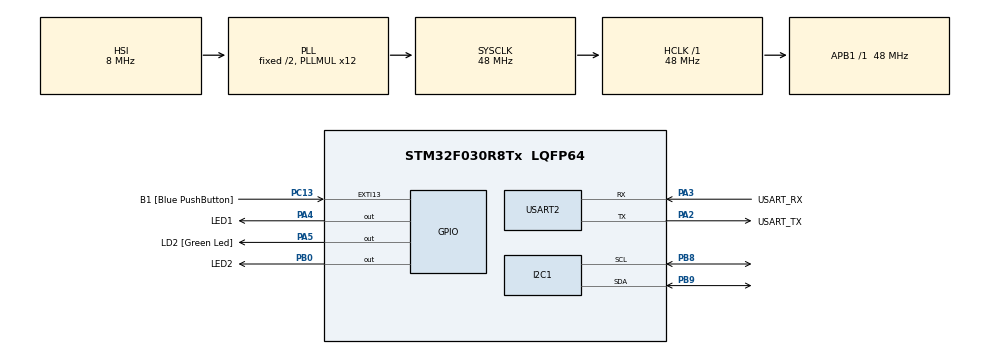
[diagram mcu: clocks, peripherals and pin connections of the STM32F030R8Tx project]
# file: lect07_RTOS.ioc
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FREERTOS.Queues01=xVisualQueue,16,uint16_t,0,Dynamic,NULL,NULL
FREERTOS.Tasks01=defaultTask,0,128,StartDefaultTask,Default,NULL,Dynamic,NULL,NULL;VisualTask,0,128,StartVisualTask,Default,NULL,Dynamic,NULL,NULL;AcceleroTask,0,128,StartAcceleroTask,Default,NULL,Dynamic,NULL,NULL
FREERTOS.configUSE_NEWLIB_REENTRANT=1
I2C1.Timing=0x00201D2B
Mcu.Family=STM32F0
Mcu.Name=STM32F030R8Tx
Mcu.Package=LQFP64
NVIC.TIM14_IRQn=true\:3\:0\:false\:false\:true\:false\:false\:true\:true
NVIC.TimeBase=TIM14_IRQn
NVIC.TimeBaseIP=TIM14
PA13.GPIO_Label=TMS
PA13.Mode=Serial_Wire
PA13.Signal=SYS_SWDIO
PA14.GPIO_Label=TCK
PA14.Mode=Serial_Wire
PA14.Signal=SYS_SWCLK
PA2.GPIO_Label=USART_TX
PA2.GPIO_Mode=GPIO_MODE_AF_PP
PA2.GPIO_PuPd=GPIO_NOPULL
PA2.GPIO_Speed=GPIO_SPEED_FREQ_LOW
PA2.Mode=Asynchronous
PA2.Signal=USART2_TX
PA3.GPIO_Label=USART_RX
PA3.GPIO_Mode=GPIO_MODE_AF_PP
PA3.GPIO_PuPd=GPIO_NOPULL
PA3.GPIO_Speed=GPIO_SPEED_FREQ_LOW
PA3.Mode=Asynchronous
PA3.Signal=USART2_RX
PA4.GPIO_Label=LED1
PA4.Signal=GPIO_Output
PA5.GPIO_Label=LD2 [Green Led]
PA5.GPIO_Mode=GPIO_MODE_OUTPUT_PP
PA5.GPIO_PuPd=GPIO_NOPULL
PA5.GPIO_Speed=GPIO_SPEED_FREQ_LOW
PA5.Signal=GPIO_Output
PB0.GPIO_Label=LED2
PB0.Signal=GPIO_Output
PB8.Mode=I2C
PB8.Signal=I2C1_SCL
PB9.Mode=I2C
PB9.Signal=I2C1_SDA
PC13.GPIO_Label=B1 [Blue PushButton]
PC13.GPIO_ModeDefaultEXTI=GPIO_MODE_IT_FALLING
PC13.Signal=GPXTI13
PC14-OSC32_IN.Mode=LSE-External-Oscillator
PC14-OSC32_IN.Signal=RCC_OSC32_IN
PC15-OSC32_OUT.Mode=LSE-External-Oscillator
PC15-OSC32_OUT.Signal=RCC_OSC32_OUT
PF0-OSC_IN.Mode=HSE-External-Clock-Source
PF0-OSC_IN.Signal=RCC_OSC_IN
PF1-OSC_OUT.Signal=RCC_OSC_OUT
ProjectManager.HeapSize=0x200
ProjectManager.StackSize=0x400
ProjectManager.TargetToolchain=STM32CubeIDE
RCC.AHBFreq_Value=48000000
RCC.APB1Freq_Value=48000000
RCC.APB1TimFreq_Value=48000000
RCC.HCLKFreq_Value=48000000
RCC.PLLMUL=RCC_PLL_MUL12
RCC.SYSCLKFreq_VALUE=48000000
RCC.SYSCLKSource=RCC_SYSCLKSOURCE_PLLCLK
USART2.VirtualMode-Asynchronous=VM_ASYNC
VP_FREERTOS_VS_CMSIS_V1.Mode=CMSIS_V1
VP_SYS_VS_tim14.Mode=TIM14
board=NUCLEO-F030R8

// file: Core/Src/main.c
/* USER CODE BEGIN Header */
/**
 ******************************************************************************
 * @file           : main.c
 * @brief          : Main program body
 ******************************************************************************
 * @attention
 *
 * Copyright (c) 2024 STMicroelectronics.
 * All rights reserved.
 *
 * This software is licensed under terms that can be found in the LICENSE file
 * in the root directory of this software component.
 * If no LICENSE file comes with this software, it is provided AS-IS.
 *
 ******************************************************************************
 */
/* USER CODE END Header */
#include "main.h"
#include "cmsis_os.h"

/* USER CODE BEGIN Includes */
#include "lis2dw12_reg.h"
#include <stdio.h>
/* USER CODE END Includes */

I2C_HandleTypeDef hi2c1;

UART_HandleTypeDef huart2;

osThreadId defaultTaskHandle;
osThreadId VisualTaskHandle;
osThreadId AcceleroTaskHandle;
osMessageQId xVisualQueueHandle;

void SystemClock_Config(void);
static void MX_GPIO_Init(void);
static void MX_USART2_UART_Init(void);
static void MX_I2C1_Init(void);
void StartDefaultTask(void const * argument);
void StartVisualTask(void const * argument);
void StartAcceleroTask(void const * argument);

/* USER CODE BEGIN 0 */
static int32_t platform_write(void *handle, uint8_t reg, uint8_t *bufp, uint16_t len);
static int32_t platform_read(void *handle, uint8_t reg, uint8_t *bufp, uint16_t len);
static stmdev_ctx_t lis2dw12 = {
		.write_reg = platform_write,
		.read_reg = platform_read,
		.handle = &hi2c1,
};

/*
 * Replace the functions "platform_write" and "platform_read" with your
 * platform specific read and write function.
 */
static int32_t platform_write(void *handle, uint8_t reg, uint8_t *bufp, uint16_t len)
{
	HAL_I2C_Mem_Write(handle, LIS2DW12_I2C_ADD_H, reg, I2C_MEMADD_SIZE_8BIT, bufp, len, 1000);
	return 0;
}
static int32_t platform_read(void *handle, uint8_t reg, uint8_t *bufp, uint16_t len)
{
	HAL_I2C_Mem_Read(handle, LIS2DW12_I2C_ADD_H, reg, I2C_MEMADD_SIZE_8BIT, bufp, len, 1000);
	return 0;
}

int _write(int file, char const *buf, int n)
{
	/* stdout redirection to UART2 */
	HAL_UART_Transmit(&huart2, (uint8_t*)(buf), n, HAL_MAX_DELAY);
	return n;
}

/* USER CODE END 0 */

int main(void)
{

	/* MCU Configuration--------------------------------------------------------*/

	/* Reset of all peripherals, Initializes the Flash interface and the Systick. */
	HAL_Init();

	/* Configure the system clock */
	SystemClock_Config();

	/* Initialize all configured peripherals */
	MX_GPIO_Init();
	MX_USART2_UART_Init();
	MX_I2C1_Init();

	/* Create the queue(s) */
	/* definition and creation of xVisualQueue */
	osMessageQDef(xVisualQueue, 16, uint16_t);
	xVisualQueueHandle = osMessageCreate(osMessageQ(xVisualQueue), NULL);

	/* Create the thread(s) */
	/* definition and creation of defaultTask */
	osThreadDef(defaultTask, StartDefaultTask, osPriorityNormal, 0, 128);
	defaultTaskHandle = osThreadCreate(osThread(defaultTask), NULL);

	/* definition and creation of VisualTask */
	osThreadDef(VisualTask, StartVisualTask, osPriorityNormal, 0, 128);
	VisualTaskHandle = osThreadCreate(osThread(VisualTask), NULL);

	/* definition and creation of AcceleroTask */
	osThreadDef(AcceleroTask, StartAcceleroTask, osPriorityNormal, 0, 128);
	AcceleroTaskHandle = osThreadCreate(osThread(AcceleroTask), NULL);

	/* Start scheduler */
	osKernelStart();

	/* We should never get here as control is now taken by the scheduler */

	/* Infinite loop */
	while (1)
	{

	}
}

void SystemClock_Config(void)
{
	RCC_OscInitTypeDef RCC_OscInitStruct = {0};
	RCC_ClkInitTypeDef RCC_ClkInitStruct = {0};
	RCC_PeriphCLKInitTypeDef PeriphClkInit = {0};

	/** Initializes the RCC Oscillators according to the specified parameters
	 * in the RCC_OscInitTypeDef structure.
	 */
	RCC_OscInitStruct.OscillatorType = RCC_OSCILLATORTYPE_HSI;
	RCC_OscInitStruct.HSIState = RCC_HSI_ON;
	RCC_OscInitStruct.HSICalibrationValue = RCC_HSICALIBRATION_DEFAULT;
	RCC_OscInitStruct.PLL.PLLState = RCC_PLL_ON;
	RCC_OscInitStruct.PLL.PLLSource = RCC_PLLSOURCE_HSI;
	RCC_OscInitStruct.PLL.PLLMUL = RCC_PLL_MUL12;
	RCC_OscInitStruct.PLL.PREDIV = RCC_PREDIV_DIV1;
	if (HAL_RCC_OscConfig(&RCC_OscInitStruct) != HAL_OK)
	{
		Error_Handler();
	}

	/** Initializes the CPU, AHB and APB buses clocks
	 */
	RCC_ClkInitStruct.ClockType = RCC_CLOCKTYPE_HCLK|RCC_CLOCKTYPE_SYSCLK
			|RCC_CLOCKTYPE_PCLK1;
	RCC_ClkInitStruct.SYSCLKSource = RCC_SYSCLKSOURCE_PLLCLK;
	RCC_ClkInitStruct.AHBCLKDivider = RCC_SYSCLK_DIV1;
	RCC_ClkInitStruct.APB1CLKDivider = RCC_HCLK_DIV1;

	if (HAL_RCC_ClockConfig(&RCC_ClkInitStruct, FLASH_LATENCY_1) != HAL_OK)
	{
		Error_Handler();
	}
	PeriphClkInit.PeriphClockSelection = RCC_PERIPHCLK_I2C1;
	PeriphClkInit.I2c1ClockSelection = RCC_I2C1CLKSOURCE_HSI;
	if (HAL_RCCEx_PeriphCLKConfig(&PeriphClkInit) != HAL_OK)
	{
		Error_Handler();
	}
}

static void MX_I2C1_Init(void)
{

	hi2c1.Instance = I2C1;
	hi2c1.Init.Timing = 0x00201D2B;
	hi2c1.Init.OwnAddress1 = 0;
	hi2c1.Init.AddressingMode = I2C_ADDRESSINGMODE_7BIT;
	hi2c1.Init.DualAddressMode = I2C_DUALADDRESS_DISABLE;
	hi2c1.Init.OwnAddress2 = 0;
	hi2c1.Init.OwnAddress2Masks = I2C_OA2_NOMASK;
	hi2c1.Init.GeneralCallMode = I2C_GENERALCALL_DISABLE;
	hi2c1.Init.NoStretchMode = I2C_NOSTRETCH_DISABLE;
	if (HAL_I2C_Init(&hi2c1) != HAL_OK)
	{
		Error_Handler();
	}

	/** Configure Analogue filter
	 */
	if (HAL_I2CEx_ConfigAnalogFilter(&hi2c1, I2C_ANALOGFILTER_ENABLE) != HAL_OK)
	{
		Error_Handler();
	}

	/** Configure Digital filter
	 */
	if (HAL_I2CEx_ConfigDigitalFilter(&hi2c1, 0) != HAL_OK)
	{
		Error_Handler();
	}

}

static void MX_USART2_UART_Init(void)
{

	huart2.Instance = USART2;
	huart2.Init.BaudRate = 38400;
	huart2.Init.WordLength = UART_WORDLENGTH_8B;
	huart2.Init.StopBits = UART_STOPBITS_1;
	huart2.Init.Parity = UART_PARITY_NONE;
	huart2.Init.Mode = UART_MODE_TX_RX;
	huart2.Init.HwFlowCtl = UART_HWCONTROL_NONE;
	huart2.Init.OverSampling = UART_OVERSAMPLING_16;
	huart2.Init.OneBitSampling = UART_ONE_BIT_SAMPLE_DISABLE;
	huart2.AdvancedInit.AdvFeatureInit = UART_ADVFEATURE_NO_INIT;
	if (HAL_UART_Init(&huart2) != HAL_OK)
	{
		Error_Handler();
	}

}

static void MX_GPIO_Init(void)
{
	GPIO_InitTypeDef GPIO_InitStruct = {0};

	/* GPIO Ports Clock Enable */
	__HAL_RCC_GPIOC_CLK_ENABLE();
	__HAL_RCC_GPIOF_CLK_ENABLE();
	__HAL_RCC_GPIOA_CLK_ENABLE();
	__HAL_RCC_GPIOB_CLK_ENABLE();

	/*Configure GPIO pin Output Level */
	HAL_GPIO_WritePin(GPIOA, LED1_Pin|LD2_Pin, GPIO_PIN_RESET);

	/*Configure GPIO pin Output Level */
	HAL_GPIO_WritePin(LED2_GPIO_Port, LED2_Pin, GPIO_PIN_RESET);

	/*Configure GPIO pin : B1_Pin */
	GPIO_InitStruct.Pin = B1_Pin;
	GPIO_InitStruct.Mode = GPIO_MODE_IT_FALLING;
	GPIO_InitStruct.Pull = GPIO_NOPULL;
	HAL_GPIO_Init(B1_GPIO_Port, &GPIO_InitStruct);

	/*Configure GPIO pins : LED1_Pin LD2_Pin */
	GPIO_InitStruct.Pin = LED1_Pin|LD2_Pin;
	GPIO_InitStruct.Mode = GPIO_MODE_OUTPUT_PP;
	GPIO_InitStruct.Pull = GPIO_NOPULL;
	GPIO_InitStruct.Speed = GPIO_SPEED_FREQ_LOW;
	HAL_GPIO_Init(GPIOA, &GPIO_InitStruct);

	/*Configure GPIO pin : LED2_Pin */
	GPIO_InitStruct.Pin = LED2_Pin;
	GPIO_InitStruct.Mode = GPIO_MODE_OUTPUT_PP;
	GPIO_InitStruct.Pull = GPIO_NOPULL;
	GPIO_InitStruct.Speed = GPIO_SPEED_FREQ_LOW;
	HAL_GPIO_Init(LED2_GPIO_Port, &GPIO_InitStruct);

}

void StartDefaultTask(void const * argument)
{
	for(;;)
	{
		osDelay(1);
	}
}

void StartVisualTask(void const * argument)
{
	/* USER CODE BEGIN StartVisualTask */
	/* Infinite loop */

	for(;;)
	{
		int16_t msg;
		/*if (i == 0){
			msg = -5000;
		} else if (i == 1){
			msg = 0;
		}else if (i == 2){
			msg = 5000;
		}else if (i == 3){
			msg = 0;
		}
		i++;
		if (i == 4) i=0;*/

		if(xQueueReceive(xVisualQueueHandle, &msg, portMAX_DELAY)){
			if(msg < -2000){
				HAL_GPIO_WritePin(LED1_GPIO_Port, LED1_Pin, 1);
				HAL_GPIO_WritePin(LED2_GPIO_Port, LED2_Pin, 0);
			}else if(msg >= 2000){
				HAL_GPIO_WritePin(LED2_GPIO_Port, LED2_Pin, 1);
				HAL_GPIO_WritePin(LED1_GPIO_Port, LED1_Pin, 0);
			}else{
				HAL_GPIO_WritePin(LED2_GPIO_Port, LED2_Pin, 0);
				HAL_GPIO_WritePin(LED1_GPIO_Port, LED1_Pin, 0);
			}
		}

		//vTaskDelay(300);
		osDelay(1);
	}
	/* USER CODE END StartVisualTask */
}

void StartAcceleroTask(void const * argument)
{
	/* USER CODE BEGIN StartAcceleroTask */
	/* Infinite loop */

	uint8_t samples;
	int16_t raw_acceleration[3];
	lis2dw12_fifo_data_level_get(&lis2dw12, &samples);
    static int32_t time =  0;
	//uint8_t i = 0;
	uint8_t whoamI = 0;
	lis2dw12_device_id_get(&lis2dw12, &whoamI);
	printf("LIS2DW12_ID %s\n", (whoamI == LIS2DW12_ID) ? "OK" : "FAIL");

	lis2dw12_full_scale_set(&lis2dw12, LIS2DW12_2g);
	lis2dw12_power_mode_set(&lis2dw12, LIS2DW12_CONT_LOW_PWR_LOW_NOISE_2);
	lis2dw12_block_data_update_set(&lis2dw12, PROPERTY_ENABLE);
	lis2dw12_fifo_mode_set(&lis2dw12, LIS2DW12_STREAM_MODE); // enable continuous FIFO
	lis2dw12_data_rate_set(&lis2dw12, LIS2DW12_XL_ODR_25Hz); // enable part from power-down
	for(;;)
	{
		if(HAL_GetTick() > (time + 50)){
		for (uint8_t i = 0; i < samples; i++) {
			// Read acceleration data
			lis2dw12_acceleration_raw_get(&lis2dw12, raw_acceleration);

		}
		static int8_t cnt;
		xQueueSend(xVisualQueueHandle, &raw_acceleration[0], 0);
		if (++cnt > 20){
			printf("X=%d Y=%d Z=%d\n", raw_acceleration[0], raw_acceleration[1], raw_acceleration[2]);
			cnt = 0;
		}
		time = HAL_GetTick();
		}

		osDelay(1);
	}
	/* USER CODE END StartAcceleroTask */
}

void HAL_TIM_PeriodElapsedCallback(TIM_HandleTypeDef *htim)
{
	if (htim->Instance == TIM14) {
		HAL_IncTick();
	}
}

void Error_Handler(void)
{
	__disable_irq();
	while (1)
	{
	}
}
